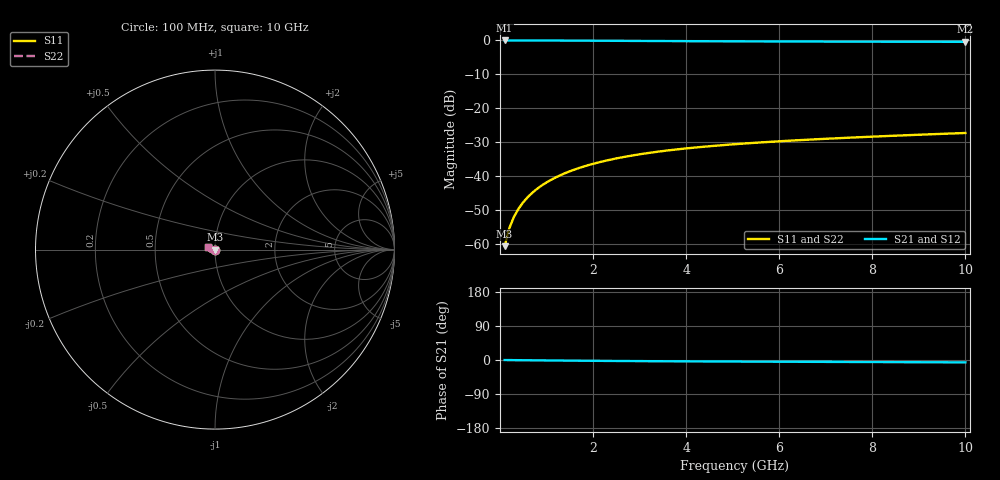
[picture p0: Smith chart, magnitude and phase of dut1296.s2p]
! Touchstone file exported from HFSS 2024.1.0
!  File:  C:/UserFiles/LocalFiles/RDL_TSV_Batchsim/temp_TSV1_1296_1780256666.aedt
!  Generated:  03:52:42 AM Jun  1, 2026
!  Design:  TSV1
!  Project:  temp_TSV1_1296_1780256666
!  Setup:  Setup1
!  Solution:  Sweep
! Variables:
!  dtsv = 6.05um
!  hbump = 3um
!  htsv = 98.43um
!  lrdl = 252.1521522um
!  p = 40
!  p1 = 41.93um
!  t = 500um
!  trdl = 3um
!  wrdl = 24.89489489um
# GHz S MA R 50.000000
! Terminal data exported
! Port[1] = TSV22_T1
! Port[2] = TSV22_T2
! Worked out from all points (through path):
!   100 points, 100 MHz to 10 GHz, reference 50 ohm
!   highest |S21| = 0.00 dB at 100 MHz (marker M1); lowest = -0.4 dB at 10 GHz (marker M2)
!   lowest |S11| = -60.7 dB at 100 MHz (marker M3), VSWR 1.00, Z = 50 - j0.0819 ohm
!   |S11| at or under -10 dB: start of sweep to end of sweep
!   |S22| runs from -60.7 to -27.3 dB; largest |S21 - S12| = 7e-15
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0.1  0.0009204 -62.8  0.9995 -0.1  0.9995 -0.1  0.0009204 -62.8
! Gamma 0 0 0 0
! Port Impedance 50 0 50 0
0.2  0.00169 -78.1  0.9994 -0.2  0.9994 -0.2  0.00169 -78.1
0.3  0.002489 -84.9  0.9993 -0.4  0.9993 -0.4  0.002489 -84.9
0.4  0.003293 -89.2  0.9991 -0.5  0.9991 -0.5  0.003293 -89.2
0.5  0.004096 -92.6  0.9989 -0.6  0.9989 -0.6  0.004096 -92.6
0.6  0.004895 -95.4  0.9986 -0.7  0.9986 -0.7  0.004895 -95.4
0.7  0.005688 -97.9  0.9983 -0.8  0.9983 -0.8  0.005688 -97.9
0.8  0.006475 -100.2  0.9979 -0.9  0.9979 -0.9  0.006475 -100.2
0.9  0.007254 -102.4  0.9975 -1.0  0.9975 -1.0  0.007254 -102.4
1.1  0.008785 -106.5  0.9965 -1.3  0.9965 -1.3  0.008785 -106.5
1.4  0.011 -112.1  0.9949 -1.6  0.9949 -1.6  0.011 -112.1
1.6  0.01242 -115.7  0.9936 -1.8  0.9936 -1.8  0.01242 -115.7
1.8  0.01379 -119.1  0.9923 -2.0  0.9923 -2.0  0.01379 -119.1
2.1  0.01574 -124.0  0.9902 -2.2  0.9902 -2.2  0.01574 -124.0
2.5  0.01815 -130.2  0.9872 -2.6  0.9872 -2.6  0.01815 -130.2
2.9  0.02036 -135.9  0.9842 -2.9  0.9842 -2.9  0.02036 -135.9
3.4  0.02285 -142.6  0.9806 -3.2  0.9806 -3.2  0.02285 -142.6
4.2  0.02631 -152.3  0.9752 -3.7  0.9752 -3.7  0.02631 -152.3
5.1  0.02961 -161.8  0.9701 -4.1  0.9701 -4.1  0.02961 -161.8
6.7  0.03453 -175.9  0.963 -4.8  0.963 -4.8  0.03453 -175.9
8.4  0.03906 172.0  0.9577 -5.6  0.9577 -5.6  0.03906 172.0
10  0.04308 162.5  0.9541 -6.2  0.9541 -6.2  0.04308 162.5
